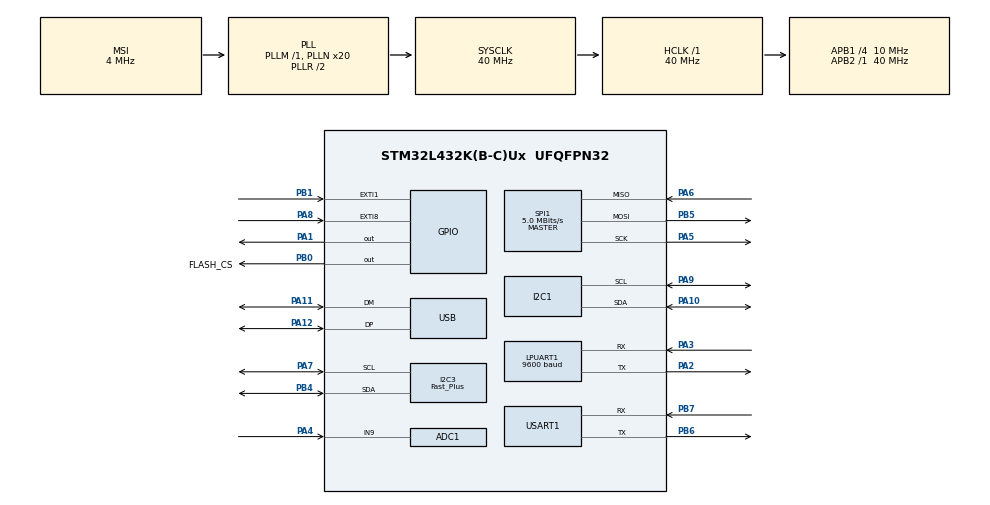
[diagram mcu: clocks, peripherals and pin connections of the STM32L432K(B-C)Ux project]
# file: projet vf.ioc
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ADC1.Channel-0\#ChannelRegularConversion=ADC_CHANNEL_VREFINT
ADC1.Channel-1\#ChannelRegularConversion=ADC_CHANNEL_TEMPSENSOR
ADC1.Channel-2\#ChannelRegularConversion=ADC_CHANNEL_9
ADC1.ContinuousConvMode=ENABLE
ADC1.ExternalTrigConv=ADC_EXTERNALTRIG_T2_TRGO
ADC1.NbrOfConversion=3
ADC1.NbrOfConversionFlag=1
ADC1.OffsetNumber-0\#ChannelRegularConversion=ADC_OFFSET_NONE
ADC1.OffsetNumber-1\#ChannelRegularConversion=ADC_OFFSET_NONE
ADC1.OffsetNumber-2\#ChannelRegularConversion=ADC_OFFSET_NONE
ADC1.Rank-0\#ChannelRegularConversion=1
ADC1.Rank-1\#ChannelRegularConversion=2
ADC1.Rank-2\#ChannelRegularConversion=3
ADC1.SamplingTime-0\#ChannelRegularConversion=ADC_SAMPLETIME_640CYCLES_5
ADC1.SamplingTime-1\#ChannelRegularConversion=ADC_SAMPLETIME_640CYCLES_5
ADC1.SamplingTime-2\#ChannelRegularConversion=ADC_SAMPLETIME_640CYCLES_5
ADC1.master=1
Dma.ADC1.0.Direction=DMA_PERIPH_TO_MEMORY
Dma.ADC1.0.Instance=DMA1_Channel1
Dma.ADC1.0.MemDataAlignment=DMA_MDATAALIGN_HALFWORD
Dma.ADC1.0.MemInc=DMA_MINC_ENABLE
Dma.ADC1.0.Mode=DMA_NORMAL
Dma.ADC1.0.PeriphDataAlignment=DMA_PDATAALIGN_HALFWORD
Dma.ADC1.0.PeriphInc=DMA_PINC_DISABLE
Dma.ADC1.0.Priority=DMA_PRIORITY_LOW
Dma.LPUART_RX.1.Direction=DMA_PERIPH_TO_MEMORY
Dma.LPUART_RX.1.Instance=DMA2_Channel7
Dma.LPUART_RX.1.MemDataAlignment=DMA_MDATAALIGN_BYTE
Dma.LPUART_RX.1.MemInc=DMA_MINC_ENABLE
Dma.LPUART_RX.1.Mode=DMA_NORMAL
Dma.LPUART_RX.1.PeriphDataAlignment=DMA_PDATAALIGN_BYTE
Dma.LPUART_RX.1.PeriphInc=DMA_PINC_DISABLE
Dma.LPUART_RX.1.Priority=DMA_PRIORITY_LOW
Dma.Request0=ADC1
Dma.Request1=LPUART_RX
Dma.Request2=SPI1_RX
Dma.Request3=SPI1_TX
Dma.SPI1_RX.2.Direction=DMA_PERIPH_TO_MEMORY
Dma.SPI1_RX.2.Instance=DMA1_Channel2
Dma.SPI1_RX.2.MemDataAlignment=DMA_MDATAALIGN_BYTE
Dma.SPI1_RX.2.MemInc=DMA_MINC_ENABLE
Dma.SPI1_RX.2.Mode=DMA_NORMAL
Dma.SPI1_RX.2.PeriphDataAlignment=DMA_PDATAALIGN_BYTE
Dma.SPI1_RX.2.PeriphInc=DMA_PINC_DISABLE
Dma.SPI1_RX.2.Priority=DMA_PRIORITY_LOW
Dma.SPI1_TX.3.Direction=DMA_MEMORY_TO_PERIPH
Dma.SPI1_TX.3.Instance=DMA1_Channel3
Dma.SPI1_TX.3.MemDataAlignment=DMA_MDATAALIGN_BYTE
Dma.SPI1_TX.3.MemInc=DMA_MINC_ENABLE
Dma.SPI1_TX.3.Mode=DMA_NORMAL
Dma.SPI1_TX.3.PeriphDataAlignment=DMA_PDATAALIGN_BYTE
Dma.SPI1_TX.3.PeriphInc=DMA_PINC_DISABLE
Dma.SPI1_TX.3.Priority=DMA_PRIORITY_LOW
I2C1.Timing=0x00202538
I2C3.CustomTiming=Disabled
I2C3.I2C_Speed_Mode=I2C_Fast_Plus
I2C3.Timing=0x00100618
LPUART1.BaudRate=9600
LPUART1.WordLength=UART_WORDLENGTH_8B
Mcu.Family=STM32L4
Mcu.Name=STM32L432K(B-C)Ux
Mcu.Package=UFQFPN32
NVIC.ADC1_IRQn=true\:0\:0\:true\:false\:true\:true\:true\:true
NVIC.DMA1_Channel1_IRQn=true\:0\:0\:true\:false\:true\:false\:true\:true
NVIC.DMA1_Channel2_IRQn=true\:0\:0\:false\:false\:true\:false\:true\:true
NVIC.DMA1_Channel3_IRQn=true\:0\:0\:false\:false\:true\:false\:true\:true
NVIC.DMA2_Channel7_IRQn=true\:0\:0\:true\:false\:true\:false\:true\:true
NVIC.EXTI1_IRQn=true\:1\:0\:true\:false\:true\:true\:true\:true
NVIC.EXTI9_5_IRQn=true\:2\:0\:true\:false\:true\:true\:true\:true
NVIC.LPUART1_IRQn=true\:0\:0\:false\:false\:true\:true\:true\:true
NVIC.PriorityGroup=NVIC_PRIORITYGROUP_4
NVIC.SPI1_IRQn=true\:0\:0\:false\:false\:true\:true\:true\:true
NVIC.TIM1_BRK_TIM15_IRQn=true\:0\:0\:false\:false\:true\:true\:true\:true
NVIC.TIM6_DAC_IRQn=true\:4\:0\:true\:false\:true\:true\:true\:true
NVIC.TIM7_IRQn=true\:0\:0\:false\:false\:true\:true\:true\:true
NVIC.USB_IRQn=true\:0\:0\:false\:false\:true\:true\:true\:true
NimaLTD.I-CUBE-SPIF.2.3.2.DriverJjSPIF=true
NimaLTD.I-CUBE-SPIF.2.3.2.SPIF_PLATFORM=SPIF_PLATFORM_HAL_DMA
PA1.Signal=GPIO_Output
PA10.Mode=I2C
PA10.Signal=I2C1_SDA
PA11.Mode=Device
PA11.Signal=USB_DM
PA12.Mode=Device
PA12.Signal=USB_DP
PA13\ (JTMS-SWDIO).Signal=SYS_JTMS-SWDIO
PA14\ (JTCK-SWCLK).Signal=SYS_JTCK-SWCLK
PA2.Mode=Asynchronous
PA2.Signal=LPUART1_TX
PA3.Mode=Asynchronous
PA3.Signal=LPUART1_RX
PA4.Signal=ADCx_IN9
PA5.Mode=Full_Duplex_Master
PA5.Signal=SPI1_SCK
PA6.Mode=Full_Duplex_Master
PA6.Signal=SPI1_MISO
PA7.GPIO_Pu=GPIO_NOPULL
PA7.Mode=I2C
PA7.Signal=I2C3_SCL
PA8.GPIO_ModeDefaultEXTI=GPIO_MODE_IT_RISING_FALLING
PA8.Signal=GPXTI8
PA9.Mode=I2C
PA9.Signal=I2C1_SCL
PB0.GPIO_Label=FLASH_CS
PB0.Signal=GPIO_Output
PB1.GPIO_ModeDefaultEXTI=GPIO_MODE_IT_RISING_FALLING
PB1.Signal=GPXTI1
PB3\ (JTDO-TRACESWO).Signal=SYS_JTDO-SWO
PB4\ (NJTRST).GPIO_Pu=GPIO_NOPULL
PB4\ (NJTRST).Mode=I2C
PB4\ (NJTRST).Signal=I2C3_SDA
PB5.Mode=Full_Duplex_Master
PB5.Signal=SPI1_MOSI
PB6.Mode=Asynchronous
PB6.Signal=USART1_TX
PB7.Mode=Asynchronous
PB7.Signal=USART1_RX
ProjectManager.HeapSize=0x200
ProjectManager.StackSize=0x400
ProjectManager.TargetToolchain=STM32CubeIDE
RCC.ADCFreq_Value=48000000
RCC.AHBFreq_Value=40000000
RCC.APB1CLKDivider=RCC_HCLK_DIV4
RCC.APB1Freq_Value=10000000
RCC.APB1TimFreq_Value=20000000
RCC.APB2Freq_Value=40000000
RCC.APB2TimFreq_Value=40000000
RCC.CortexFreq_Value=40000000
RCC.HCLKFreq_Value=40000000
RCC.HSE_VALUE=8000000
RCC.HSI48_VALUE=48000000
RCC.HSI_VALUE=16000000
RCC.I2C3CLockSelection=RCC_I2C3CLKSOURCE_SYSCLK
RCC.LPTIM1CLockSelection=RCC_LPTIM1CLKSOURCE_LSI
RCC.LSE_VALUE=32768
RCC.MSI_VALUE=4000000
RCC.PLLN=20
RCC.PLLSAI1N=24
RCC.SYSCLKFreq_VALUE=40000000
RCC.SYSCLKSource=RCC_SYSCLKSOURCE_PLLCLK
RCC.USBFreq_Value=48000000
RCC.VCOOutputFreq_Value=80000000
SH.ADCx_IN9.0=ADC1_IN9,IN9-Single-Ended
SPI1.BaudRatePrescaler=SPI_BAUDRATEPRESCALER_8
SPI1.CalculateBaudRate=5.0 MBits/s
SPI1.DataSize=SPI_DATASIZE_8BIT
SPI1.Direction=SPI_DIRECTION_2LINES
SPI1.Mode=SPI_MODE_MASTER
SPI1.VirtualType=VM_MASTER
TIM15.Period=999
TIM15.Prescaler=39999
TIM2.Period=10000-1
TIM2.Prescaler=400-1
TIM2.TIM_MasterOutputTrigger=TIM_TRGO_UPDATE
TIM6.Period=249
TIM6.Prescaler=1999
TIM7.Period=1000-1
TIM7.Prescaler=20000-1
TIM7.TIM_MasterOutputTrigger=TIM_TRGO_RESET
USART1.VirtualMode-Asynchronous=VM_ASYNC
USB_DEVICE.CLASS_NAME_FS=CDC
USB_DEVICE.PRODUCT_STRING_CDC_FS=BALISE_GPS
USB_DEVICE.VirtualMode=Cdc
USB_DEVICE.VirtualModeFS=Cdc_FS
VP_ADC1_TempSens_Input.Mode=IN-TempSens
VP_ADC1_Vref_Input.Mode=IN-Vrefint
VP_NimaLTD.I-CUBE-SPIF_VS_DriverJjSPIF_1.0.0_2.3.2.Mode=DriverJjSPIF
VP_TIM15_VS_ClockSourceINT.Mode=Internal
VP_TIM2_VS_ClockSourceINT.Mode=Internal
VP_TIM6_VS_ClockSourceINT.Mode=Enable_Timer
VP_TIM7_VS_ClockSourceINT.Mode=Enable_Timer
VP_USB_DEVICE_VS_USB_DEVICE_CDC_FS.Mode=CDC_FS
board=custom

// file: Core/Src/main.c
/* USER CODE BEGIN Header */
/**
 ******************************************************************************
 * @file           : main.c
 * @brief          : Main program body
 ******************************************************************************
 * @attention
 *
 * Copyright (c) 2024 STMicroelectronics.
 * All rights reserved.
 *
 * This software is licensed under terms that can be found in the LICENSE file
 * in the root directory of this software component.
 * If no LICENSE file comes with this software, it is provided AS-IS.
 *
 ******************************************************************************
 */
/* USER CODE END Header */
#include "main.h"
#include "adc.h"
#include "dma.h"
#include "i2c.h"
#include "usart.h"
#include "spi.h"
#include "tim.h"
#include "usb_device.h"
#include "gpio.h"

/* USER CODE BEGIN Includes */

#include "math.h"
#include "ssd1306.h"
#include "statemachine.h"
#include "nmea_parse.h"
#include "stm32l4xx_hal.h"
#include "spif.h"
#include "PADS.h"

/* USER CODE END Includes */

/* USER CODE BEGIN PD */
//#define TS_CAL1 *((uint16_t*) 0x1FFF75A8)
//#define TS_CAL2 *((uint16_t*) 0x1FFF75CA)
/* USER CODE END PD */

/* USER CODE BEGIN PV */

STATE_TYPE state=STATE_SPEED;
HEURE hrstate=STATE_DIGIT;
SPEED spdstate=STATE_SUMMARY;
POS posstate=STATE_SUMMARY1;
CHRONO chronostate=STATE_RESET;
KEYBOARD keyboardstate=STATE_MARCHE;
USBSTATE usbstate=USBSTATE1;
BALISESTATE balisestate=BALISESTATE1;
TARVOSSTATE tarvosstate=TARVOS1;
BAROSTATE barostate=BARO1;

uint16_t oldPos = 0;
uint16_t newPos = 0;
uint8_t RxBuffer[RxBuffer_SIZE];
uint8_t DataBuffer[DataBuffer_SIZE];
GPS myData;
int BTN_A=0;
int BTN_B=0;

SPIF_HandleTypeDef hspif1;
extern SPI_HandleTypeDef hspi1;
extern TIM_HandleTypeDef htim15;
extern TIM_HandleTypeDef htim6;

const unsigned char startimg[] = {
		0x00, 0x00, 0x00, 0x00, 0x00, 0x00, 0x00, 0x00,
		  0x7f, 0xff, 0xff, 0xff, 0xff, 0xff, 0xff, 0xfe,
		  0x7f, 0xff, 0xff, 0xff, 0xff, 0xff, 0xfe, 0x3e,
		  0x7f, 0xff, 0xff, 0xff, 0xff, 0xff, 0xf9, 0xce,
		  0x7f, 0xff, 0xff, 0xff, 0xff, 0xff, 0xfa, 0x2e,
		  0x7f, 0xfc, 0x1f, 0xff, 0xff, 0xff, 0xf6, 0xb6,
		  0x7f, 0xf0, 0x07, 0xff, 0xff, 0xff, 0xf6, 0x76,
		  0x7f, 0xc0, 0x01, 0xff, 0xff, 0xff, 0xfa, 0xae,
		  0x7f, 0x80, 0x00, 0xff, 0xff, 0xff, 0xf9, 0xce,
		  0x7f, 0x81, 0xc0, 0xff, 0xff, 0xff, 0xfe, 0x3e,
		  0x7f, 0x03, 0xe0, 0x7f, 0xff, 0xff, 0xff, 0xfe,
		  0x7f, 0x07, 0xf0, 0x7f, 0x0f, 0x03, 0xf0, 0x3e,
		  0x7f, 0x07, 0xf0, 0x7f, 0x0f, 0x03, 0xf0, 0x3e,
		  0x7f, 0x07, 0xf0, 0x7c, 0xff, 0x3c, 0xcf, 0xfe,
		  0x7f, 0x03, 0xe0, 0x7c, 0xff, 0x3c, 0xcf, 0xfe,
		  0x7f, 0x01, 0xc0, 0x7c, 0xc3, 0x03, 0xf0, 0xfe,
		  0x7f, 0x80, 0x00, 0xfc, 0xc3, 0x03, 0xf0, 0xfe,
		  0x7f, 0x80, 0x00, 0xfc, 0xf3, 0x3f, 0xff, 0x3e,
		  0x7f, 0xc0, 0x01, 0xfc, 0xf3, 0x3f, 0xff, 0x3e,
		  0x7f, 0xc0, 0x01, 0xff, 0x0f, 0x3f, 0xc0, 0xfe,
		  0x7f, 0xe0, 0x03, 0xff, 0x0f, 0x3f, 0xc0, 0xfe,
		  0x7f, 0xe0, 0x07, 0xff, 0xff, 0xff, 0xff, 0xfe,
		  0x7f, 0xf0, 0x07, 0xff, 0xff, 0xff, 0xff, 0xfe,
		  0x7f, 0xf0, 0x0f, 0xff, 0xff, 0x76, 0xfe, 0x7e,
		  0x7f, 0xf8, 0x0f, 0xff, 0xff, 0x74, 0xfd, 0xbe,
		  0x7f, 0xf8, 0x1f, 0xff, 0xff, 0xae, 0xfd, 0xbe,
		  0x7f, 0xfc, 0x1f, 0xff, 0xff, 0xae, 0xfd, 0xbe,
		  0x7f, 0xfc, 0x3f, 0xff, 0xff, 0xdc, 0x6e, 0x7e,
		  0x7f, 0xfe, 0x3f, 0xff, 0xff, 0xff, 0xff, 0xfe,
		  0x7f, 0xff, 0xff, 0xff, 0xff, 0xff, 0xff, 0xfe,
		  0x7f, 0xff, 0xff, 0xff, 0xff, 0xff, 0xff, 0xfe,
		  0x00, 0x00, 0x00, 0x00, 0x00, 0x00, 0x00, 0x00,
		};

uint16_t rawdata[3];
float temp=0.0;
float vrefint=0;
float vbat=0;

uint8_t flashwrite[256];
uint8_t flashread[256];
extern uint8_t indexbuffer[50];
int pageoffset=0;
int pagenumber=0;
int sectoreraseen=0;
uint8_t numbuf1[10];
uint8_t numbuf2[10];
uint8_t bufferscreen[50];
uint8_t longbufferscreen[256];
uint8_t usbbuffer[64];
uint16_t offsetforscroltext=0;
uint16_t scrolltextmax=0;

float vitmax=0.0;
float seconde=0;
float min=0;

uint32_t starttime=0;
uint32_t calctime=0;
uint32_t timehandler=0;
float t1=0;
float t2=0;
float t3=0;
float moy=0;
float framerate=0;
int flashbufferlen=0;

int erasetime=0;
int erasedisplay=0;
int usbtransmiten=0;
float usbpercent=0;

int doubledonnee=0;
int cptdoubledonnee=0;
double distanceparcouru=0;
double oldlat=0;
double oldlong=0;

int32_t baropress=0;
int16_t barotemp=0;
int baroenableinit=0;
float altibaro=0;

int enablewrite=0;

double distance1sec=0;

uint8_t SEC=0;
uint8_t HR=0;
uint8_t MINUTE=0;
uint8_t JOURS=10;
uint8_t MOIS=11;
uint16_t ANNEE=2024;
MOIS_STATE mois=JANVIER;
int settimeen=0;

int boutonAtime=0;
int boutonBtime=0;
int tbtn1=0;
int tbtn2=0;
int BTN_B_LONG=0;
int BTN_A_LONG=0;

/* USER CODE END PV */

void SystemClock_Config(void);
void PeriphCommonClock_Config(void);

/* USER CODE BEGIN 0 */

void HAL_GPIO_EXTI_Callback(uint16_t GPIO_Pin)//lors d'un appuie sur un bouton, le systeme s'interrompt afin d'arriver dans cette fonction redefinie avec en parametre d'entre , le bouton sur lequel l'on a appuiyé
{
	if(GPIO_Pin==GPIO_PIN_8){

		if(HAL_GPIO_ReadPin(GPIOA,GPIO_PIN_8)== GPIO_PIN_RESET){

					boutonAtime=0;
					tbtn1=HAL_GetTick();

				}
				else{
					BTN_A++;

					boutonAtime=HAL_GetTick()-tbtn1;
					tbtn1=0;

				}

				if(boutonAtime>=400){
					BTN_A_LONG++;
					BTN_A=0;
				}

	}
	if(GPIO_Pin==GPIO_PIN_1){

		if(HAL_GPIO_ReadPin(GPIOB,GPIO_PIN_1)== GPIO_PIN_RESET){

			boutonBtime=0;
			tbtn2=HAL_GetTick();

		}
		else{
			BTN_B++;

			boutonBtime=HAL_GetTick()-tbtn2;
			tbtn2=0;

		}

		if(boutonBtime>=400){
			BTN_B_LONG++;
			BTN_B=0;
		}

	}
}
/* USER CODE END 0 */

int main(void)
{

  /* MCU Configuration--------------------------------------------------------*/

  /* Reset of all peripherals, Initializes the Flash interface and the Systick. */
  HAL_Init();

  /* Configure the system clock */
  SystemClock_Config();

/* Configure the peripherals common clocks */
  PeriphCommonClock_Config();

  /* Initialize all configured peripherals */
  MX_GPIO_Init();
  MX_DMA_Init();
  MX_I2C3_Init();
  MX_LPUART1_UART_Init();
  MX_ADC1_Init();
  MX_TIM2_Init();
  MX_USB_DEVICE_Init();
  MX_I2C1_Init();
  MX_USART1_UART_Init();
  MX_SPI1_Init();
  MX_TIM7_Init();
  MX_TIM6_Init();
  MX_TIM15_Init();
  /* USER CODE BEGIN 2 */
  HAL_UART_Abort(&huart1);
  HAL_UART_DeInit(&huart1);

  HAL_I2C_DeInit(&hi2c1);

	ssd1306_Init();

	HAL_Delay(10);
	ssd1306_Fill(Black);

	ssd1306_DrawBitmap(32, 32, startimg, 64, 64, White);
	ssd1306_UpdateScreen();

	HAL_ADC_Start_DMA(&hadc1,(uint32_t*)rawdata, 3);
	HAL_TIM_Base_Start(&htim2);
	HAL_TIM_Base_Start_IT(&htim15);
	HAL_TIM_Base_Start_IT(&htim6);

	HAL_GPIO_WritePin(GPIOA,GPIO_PIN_1,GPIO_PIN_SET);

	HAL_Delay(100);
	HAL_UART_Abort(&hlpuart1);
	HAL_UART_Receive_DMA(&hlpuart1, (uint8_t *)RxBuffer, RxBuffer_SIZE);

	memset(flashread,'1',256);
	memset(flashwrite,'\0',256);
	memset((uint8_t *)bufferscreen ,'\0',50);

	SPIF_Init(&hspif1, &hspi1, GPIOB, GPIO_PIN_0);

	getindex();

	ssd1306_Fill(Black);

	HAL_Delay(700);
  /* USER CODE END 2 */

  /* Infinite loop */
	while (1)
	{

    /* USER CODE BEGIN 3 */
		statemachine();
		ssd1306_UpdateScreen();
	}
  /* USER CODE END 3 */
}

void SystemClock_Config(void)
{
  RCC_OscInitTypeDef RCC_OscInitStruct = {0};
  RCC_ClkInitTypeDef RCC_ClkInitStruct = {0};

  /** Configure the main internal regulator output voltage
  */
  if (HAL_PWREx_ControlVoltageScaling(PWR_REGULATOR_VOLTAGE_SCALE1) != HAL_OK)
  {
    Error_Handler();
  }

  /** Initializes the RCC Oscillators according to the specified parameters
  * in the RCC_OscInitTypeDef structure.
  */
  RCC_OscInitStruct.OscillatorType = RCC_OSCILLATORTYPE_MSI;
  RCC_OscInitStruct.MSIState = RCC_MSI_ON;
  RCC_OscInitStruct.MSICalibrationValue = 0;
  RCC_OscInitStruct.MSIClockRange = RCC_MSIRANGE_6;
  RCC_OscInitStruct.PLL.PLLState = RCC_PLL_ON;
  RCC_OscInitStruct.PLL.PLLSource = RCC_PLLSOURCE_MSI;
  RCC_OscInitStruct.PLL.PLLM = 1;
  RCC_OscInitStruct.PLL.PLLN = 20;
  RCC_OscInitStruct.PLL.PLLP = RCC_PLLP_DIV7;
  RCC_OscInitStruct.PLL.PLLQ = RCC_PLLQ_DIV2;
  RCC_OscInitStruct.PLL.PLLR = RCC_PLLR_DIV2;
  if (HAL_RCC_OscConfig(&RCC_OscInitStruct) != HAL_OK)
  {
    Error_Handler();
  }

  /** Initializes the CPU, AHB and APB buses clocks
  */
  RCC_ClkInitStruct.ClockType = RCC_CLOCKTYPE_HCLK|RCC_CLOCKTYPE_SYSCLK
                              |RCC_CLOCKTYPE_PCLK1|RCC_CLOCKTYPE_PCLK2;
  RCC_ClkInitStruct.SYSCLKSource = RCC_SYSCLKSOURCE_PLLCLK;
  RCC_ClkInitStruct.AHBCLKDivider = RCC_SYSCLK_DIV1;
  RCC_ClkInitStruct.APB1CLKDivider = RCC_HCLK_DIV4;
  RCC_ClkInitStruct.APB2CLKDivider = RCC_HCLK_DIV1;

  if (HAL_RCC_ClockConfig(&RCC_ClkInitStruct, FLASH_LATENCY_2) != HAL_OK)
  {
    Error_Handler();
  }
}

void PeriphCommonClock_Config(void)
{
  RCC_PeriphCLKInitTypeDef PeriphClkInit = {0};

  /** Initializes the peripherals clock
  */
  PeriphClkInit.PeriphClockSelection = RCC_PERIPHCLK_USB|RCC_PERIPHCLK_ADC;
  PeriphClkInit.AdcClockSelection = RCC_ADCCLKSOURCE_PLLSAI1;
  PeriphClkInit.UsbClockSelection = RCC_USBCLKSOURCE_PLLSAI1;
  PeriphClkInit.PLLSAI1.PLLSAI1Source = RCC_PLLSOURCE_MSI;
  PeriphClkInit.PLLSAI1.PLLSAI1M = 1;
  PeriphClkInit.PLLSAI1.PLLSAI1N = 24;
  PeriphClkInit.PLLSAI1.PLLSAI1P = RCC_PLLP_DIV7;
  PeriphClkInit.PLLSAI1.PLLSAI1Q = RCC_PLLQ_DIV2;
  PeriphClkInit.PLLSAI1.PLLSAI1R = RCC_PLLR_DIV2;
  PeriphClkInit.PLLSAI1.PLLSAI1ClockOut = RCC_PLLSAI1_48M2CLK|RCC_PLLSAI1_ADC1CLK;
  if (HAL_RCCEx_PeriphCLKConfig(&PeriphClkInit) != HAL_OK)
  {
    Error_Handler();
  }
}

void Error_Handler(void)
{
	__disable_irq();
	while (1)
	{
	}
}
